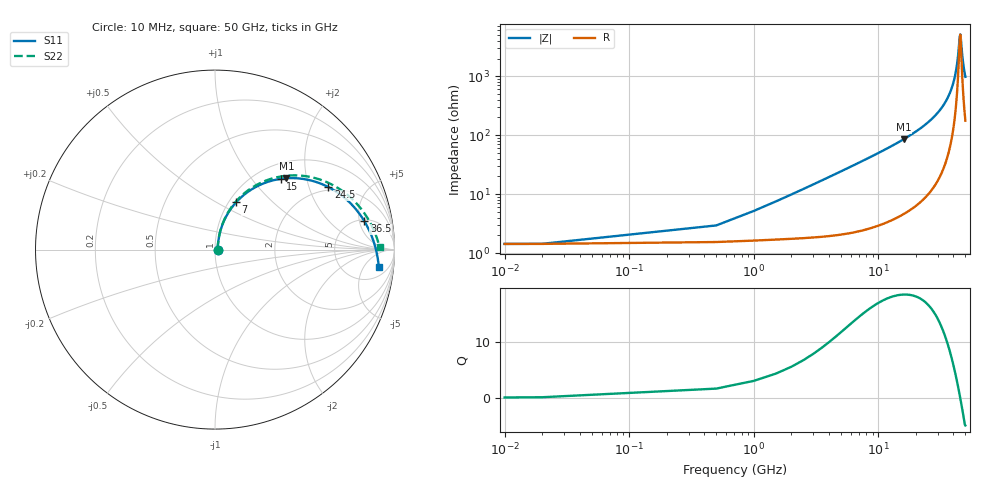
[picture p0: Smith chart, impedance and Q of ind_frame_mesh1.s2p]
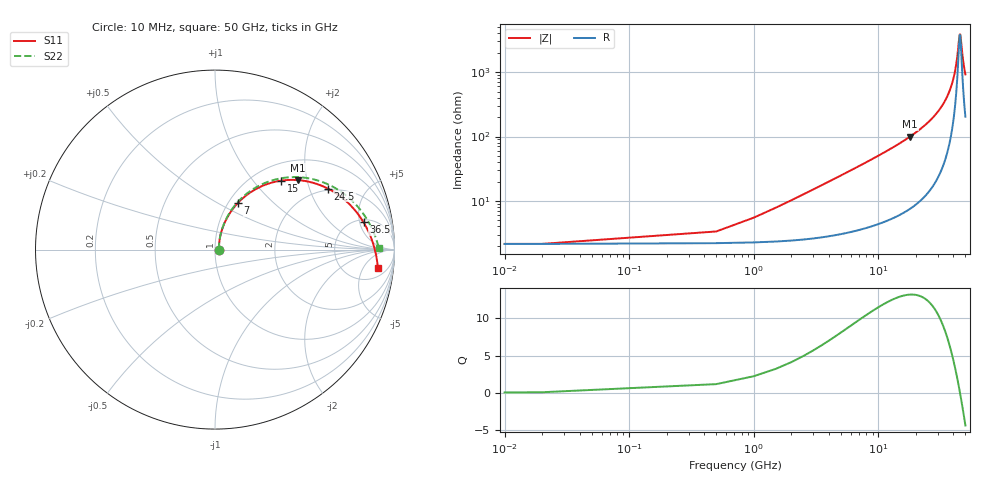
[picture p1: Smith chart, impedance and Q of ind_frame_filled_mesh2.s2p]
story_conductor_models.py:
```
#!/usr/bin/env python
"""Plot and numbers for README.md section "Conductor model": surface impedance (the mesh study above) vs. conductors meshed as
volumes: settings['conductor_model'] = 'solve_inside' and 'solve_inside_skin'.

Writes results/plots/story_conductor_models.png (R and Q vs. frequency) and prints the numbers quoted in README.md.
Reference for all errors: 'solve_inside_skin', 1 um mesh. DOF from the Palace output of each run.
"""
import os
import numpy as np
import matplotlib
matplotlib.use("Agg")
import matplotlib.pyplot as plt

import story_plots as S

RUNS = [  # label, Touchstone file, DOF, color, line style
    ("surface impedance, 1 µm", "ind_frame_mesh1.s2p", 881044, S.BLUE, "-"),
    ("solve_inside, 2 µm", "ind_frame_filled_mesh2.s2p", 504076, S.ORANGE, "--"),
    ("solve_inside_skin, 5 µm", "ind_frame_skin_mesh5.s2p", 382260, S.AQUA, ":"),
    ("solve_inside_skin, 2 µm", "ind_frame_skin_mesh2.s2p", 1052830, S.AQUA, "--"),
    ("solve_inside_skin, 1 µm", "ind_frame_skin_mesh1.s2p", 2375210, S.INK, "-"),
]
TABLE = RUNS + [("solve_inside_skin, 3 µm", "ind_frame_skin_mesh3.s2p", 692654, None, None),
                ("surface impedance, 2 µm", "ind_frame_mesh2.s2p", 429096, None, None),
                ("surface impedance, 5 µm", "ind_frame_mesh5.s2p", 161484, None, None)]
REFERENCE = "ind_frame_skin_mesh1.s2p"


def plot():
    fig, axes = plt.subplots(1, 2, figsize=(10, 3.9), sharex=True)
    for label, fname, _, color, ls in RUNS:
        ntw = S.load(fname)
        m = S.lqr(ntw)
        for ax, key in zip(axes, ("R", "Q")):
            ax.plot(ntw.f / 1e9, m[key], color=color, linestyle=ls, linewidth=2, label=label)
    for ax, title in zip(axes, ("Differential resistance R (Ω)", "Differential Q factor")):
        S.style(ax)
        ax.set_title(title, loc="left", fontsize=11, color=S.INK)
        ax.set_xlabel("Frequency (GHz)", color=S.INK2)
    axes[0].set_ylim(0, 12)
    axes[0].set_xlim(0, 40)
    handles, labels = axes[1].get_legend_handles_labels()
    fig.legend(handles, labels, loc="upper center", ncol=3, frameon=False, fontsize=9)
    fig.tight_layout(rect=(0, 0, 1, 0.84))
    out = os.path.join(S.PLOT_DIR, "story_conductor_models.png")
    fig.savefig(out, dpi=130, facecolor="white")
    plt.close(fig)
    print("wrote", out)


def numbers():
    ref = S.load(REFERENCE)
    r = S.lqr(ref)
    print(f"\n{'model':30s} {'DOF':>10s} {'R@1GHz':>7s} {'dR':>7s} {'L@10GHz':>8s} {'dL':>7s} {'Qpeak':>6s} {'@GHz':>5s} {'dQ':>7s}")
    for label, fname, dof, _, _ in TABLE:
        ntw = S.load(fname)
        m = S.lqr(ntw)
        r1, l10 = S.at(ntw, m["R"], 1e9), S.at(ntw, m["L"], 10e9)
        print(f"{label:30s} {dof:10,d} {r1:7.3f} {100 * (r1 / S.at(ref, r['R'], 1e9) - 1):+6.1f}% "
              f"{l10:8.4f} {100 * (l10 / S.at(ref, r['L'], 10e9) - 1):+6.2f}% "
              f"{m['Q'].max():6.2f} {ntw.f[m['Q'].argmax()] / 1e9:5.1f} {100 * (m['Q'].max() / r['Q'].max() - 1):+6.1f}%")


if __name__ == "__main__":
    plot()
    numbers()
```
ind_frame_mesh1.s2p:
! Created with skrf 2.1.0 (http://scikit-rf.org).
# GHz S DB R 50.0
! Port[1] = P1
! Port[2] = P2
!freq dBS11 angS11 dBS21 angS21 dBS12 angS12 dBS22 angS22
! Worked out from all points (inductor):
!   102 points, 10 MHz to 50 GHz, reference 50 ohm
!   read as 1/Y11, port 2 shorted: L = 777 pH near 1 GHz
!   highest Q = 18.5 at 16 GHz (marker M1), where L = 852 pH
!   self-resonance near 45 GHz
!   S11 on the Smith chart (normalised r, x): 10 MHz: 1.03, +0.00; 7 GHz: 1.08, +0.62; 15 GHz: 1.28, +1.41; 24.5 GHz: 1.87, +2.71; 36.5 GHz: 5.29, +5.94; 50 GHz: 9, -11
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0.01  -36.98 2.0  -0.12 -0.0  -0.12 -0.0  -36.98 2.0
1  -26.67 67.3  -0.15 -3.1  -0.15 -3.1  -26.66 67.4
2  -21.15 73.5  -0.19 -6.0  -0.19 -6.0  -21.15 73.6
4  -15.36 72.5  -0.31 -11.7  -0.31 -11.7  -15.37 73.0
7  -10.81 66.0  -0.59 -20.0  -0.59 -20.0  -10.81 66.8
15  -5.39 47.1  -1.80 -39.4  -1.80 -39.4  -5.40 48.9
16  -5.00 45.0  -1.98 -41.5  -1.98 -41.5  -5.01 46.9
24.5  -2.83 28.8  -3.65 -57.4  -3.65 -57.4  -2.85 31.8
25.5  -2.67 27.2  -3.85 -59.1  -3.85 -59.1  -2.68 30.3
36.5  -1.44 10.8  -6.15 -75.0  -6.15 -75.0  -1.45 15.5
50  -0.75 -6.0  -9.09 -90.9  -9.09 -90.9  -0.75 0.9
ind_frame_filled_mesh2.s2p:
! Created with skrf 2.1.0 (http://scikit-rf.org).
# GHz S DB R 50.0
! Port[1] = P1
! Port[2] = P2
!freq dBS11 angS11 dBS21 angS21 dBS12 angS12 dBS22 angS22
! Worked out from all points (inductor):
!   102 points, 10 MHz to 50 GHz, reference 50 ohm
!   read as 1/Y11, port 2 shorted: L = 788 pH near 1.5 GHz
!   highest Q = 13.2 at 18 GHz (marker M1), where L = 882 pH
!   self-resonance near 45 GHz
!   S11 on the Smith chart (normalised r, x): 10 MHz: 1.04, +0.00; 7 GHz: 1.11, +0.63; 15 GHz: 1.31, +1.41; 24.5 GHz: 1.94, +2.69; 36.5 GHz: 5.52, +5.75; 50 GHz: 9, -11
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0.01  -33.56 1.2  -0.18 -0.0  -0.18 -0.0  -33.56 1.2
1.5  -23.18 67.0  -0.23 -4.6  -0.23 -4.6  -23.18 67.1
2.5  -19.08 70.6  -0.28 -7.5  -0.28 -7.5  -19.08 70.8
4.5  -14.28 69.0  -0.43 -13.2  -0.43 -13.2  -14.29 69.5
7  -10.79 63.9  -0.68 -20.0  -0.68 -20.0  -10.80 64.7
15  -5.46 46.1  -1.89 -39.1  -1.89 -39.1  -5.48 47.9
18  -4.41 40.1  -2.44 -45.2  -2.44 -45.2  -4.43 42.3
24.5  -2.91 28.3  -3.71 -57.0  -3.71 -57.0  -2.92 31.4
25.5  -2.74 26.7  -3.92 -58.6  -3.92 -58.6  -2.75 29.8
36.5  -1.50 10.4  -6.19 -74.5  -6.19 -74.5  -1.51 15.2
50  -0.79 -6.4  -9.14 -90.4  -9.14 -90.4  -0.80 0.6
